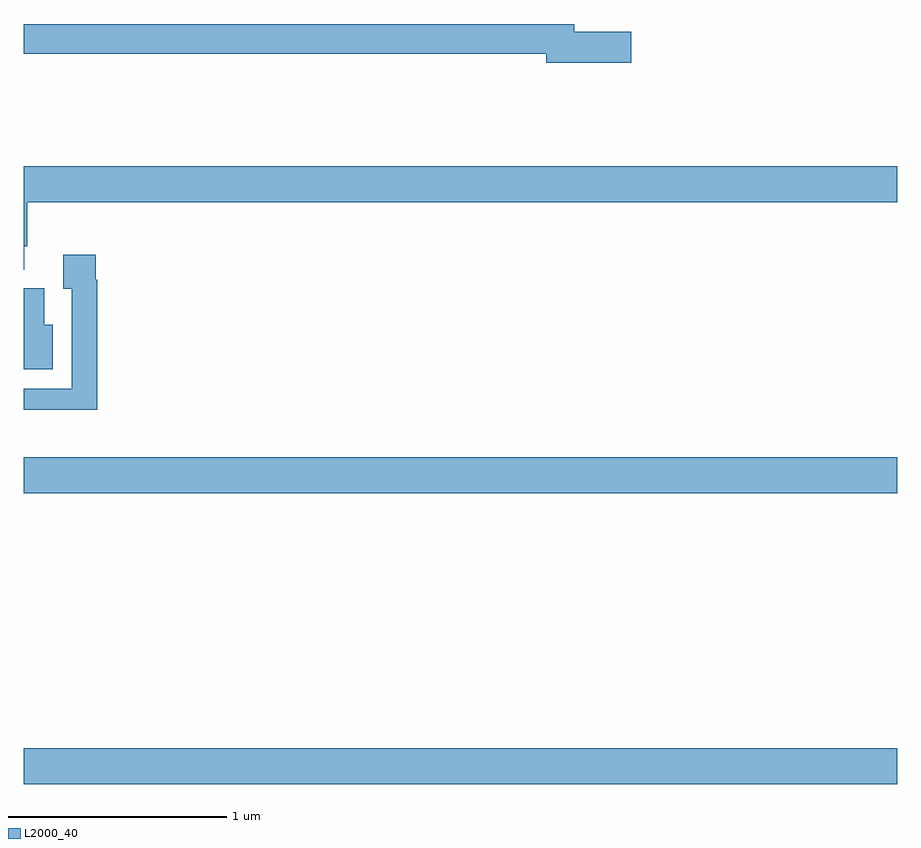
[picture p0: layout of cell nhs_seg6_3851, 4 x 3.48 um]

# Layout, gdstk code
import gdstk
lib = gdstk.Library(unit=1e-6, precision=1e-09)
def R(c, l, rs):  # rectangles x0, y0, x1, y1
    for r in rs: c.add(gdstk.rectangle(r[:2], r[2:], *l))
def P(c, l, *ps):  # polygons
    for p in ps: c.add(gdstk.Polygon(p, *l))
L2000_40 = (2000, 40)

nhs_seg6_3851 = lib.new_cell('nhs_seg6_3851')
R(nhs_seg6_3851, L2000_40, [(337,993.956,341,994.12), (337,995.288,341,995.452)])
P(nhs_seg6_3851, L2000_40, [(339.781,997.4),(339.52,997.4),(339.52,997.436),(337,997.436),(337,997.3),(339.392,997.3),(339.392,997.258),(339.781,997.258)],
  [(337.003,996.418),(337.016,996.418),(337.016,996.62),(341,996.62),(341,996.784),(337,996.784),(337,996.311),(337.003,996.311)],
  [(337.337,996.266),(337.33,996.266),(337.33,996.379),(337.181,996.379),(337.181,996.223),(337.221,996.223),(337.221,995.766),(337,995.766),(337,995.67),(337.045,995.67),(337.045,995.669),(337.337,995.669)],
  [(337.132,996.058),(337.093,996.058),(337.093,996.226),(337,996.226),(337,995.855),(337.132,995.855)])

lib.write_gds('nhs_seg6_3851.gds')
